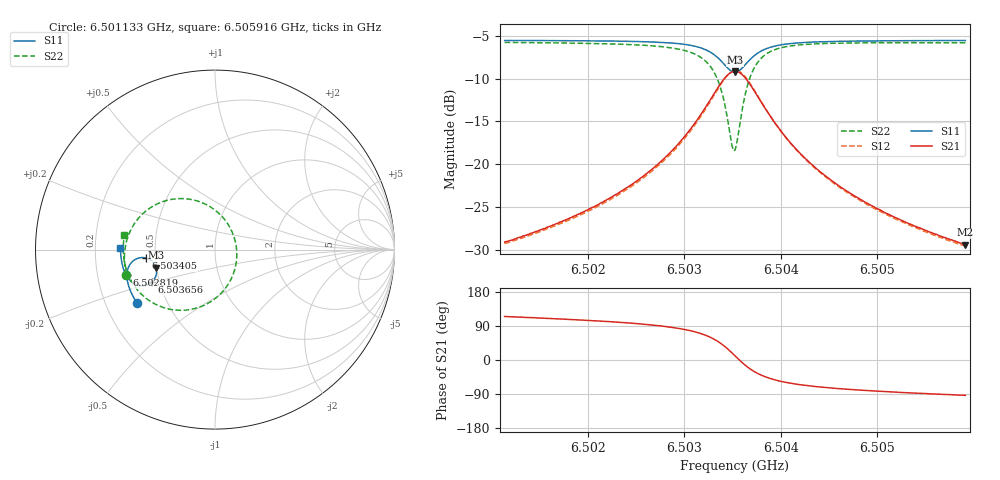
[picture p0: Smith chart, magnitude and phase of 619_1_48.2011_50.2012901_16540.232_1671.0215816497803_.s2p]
#  HZ  S  RI  R  50.00
! Rohde & Schwarz Vector Network Analyzer
! Rohde-Schwarz,ZNB20-2Port,1311601062101988,3.16
! Created: UTC 3/20/2024, 12:03:49 PM
! freq[Hz]  re:S11  im:S11  re:S21  im:S21  re:S12  im:S12  re:S22  im:S22
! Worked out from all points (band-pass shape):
!   401 points, 6.501133 GHz to 6.505916 GHz, reference 50 ohm
!   highest |S21| = -9.16 dB at 6.503525 GHz (marker M1); lowest = -29.3 dB at 6.505916 GHz (marker M2)
!   |S21| within 3 dB of the highest: 6.503286 GHz to 6.503764 GHz (478.7 kHz wide, 0.00736 % of centre)
!   lowest |S11| = -9.3 dB at 6.503525 GHz (marker M3), VSWR 2.05, Z = 24.8 - j5.64 ohm
!   |S11| at or under -10 dB: nowhere
!   |S22| runs from -18.4 to -5.8 dB; largest |S21 - S12| = 0.012
!   S11 on the Smith chart (normalised r, x): 6.501133 GHz: 0.34, -0.28; 6.502819 GHz: 0.33, -0.13; 6.503405 GHz: 0.44, -0.05; 6.503656 GHz: 0.45, -0.19; 6.505916 GHz: 0.31, +0.01
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6.5011335e9  -0.4347 -0.2975  -0.0149 0.032  -0.0129 0.032  -0.4943 -0.139
6.5019345e9  -0.4682 -0.2368  -0.0139 0.0504  -0.0112 0.05  -0.5048 -0.0511
6.5024008e9  -0.4836 -0.1938  -0.0103 0.0724  -0.00709 0.071  -0.499 0.019
6.5027356e9  -0.4905 -0.1549  -0.000708 0.1016  0.00301 0.0992  -0.478 0.0908
6.5028193e9  -0.4908 -0.1432  0.00413 0.1124  0.00797 0.1094  -0.4672 0.1139
6.5030226e9  -0.486 -0.1092  0.0275 0.1478  0.0312 0.1433  -0.4189 0.1833
6.503166e9  -0.4712 -0.079  0.0659 0.182  0.0688 0.1762  -0.344 0.243
6.5033095e9  -0.4322 -0.0493  0.1499 0.2112  0.1507 0.2049  -0.1915 0.2843
6.5034052e9  -0.3841 -0.0469  0.2436 0.1941  0.2439 0.1894  -0.0288 0.2398
6.5034889e9  -0.3401 -0.0772  0.3241 0.1172  0.3268 0.113  0.0995 0.0884
6.5035247e9  -0.3289 -0.1002  0.3419 0.067  0.3461 0.0615  0.121 -0.0059
6.5035486e9  -0.3258 -0.117  0.3455 0.0313  0.3501 0.0244  0.1186 -0.0714
6.5035845e9  -0.3281 -0.1419  0.3377 -0.0202  0.342 -0.0296  0.0903 -0.1632
6.5036562e9  -0.3511 -0.1802  0.2895 -0.0986  0.2898 -0.1108  -0.0236 -0.2902
6.5037041e9  -0.3723 -0.1943  0.2481 -0.1283  0.2456 -0.1402  -0.1101 -0.3278
6.5037639e9  -0.398 -0.2012  0.1999 -0.1449  0.1946 -0.1555  -0.2054 -0.3379
6.5039073e9  -0.4437 -0.193  0.1182 -0.1421  0.1109 -0.148  -0.3526 -0.2929
6.5040747e9  -0.4735 -0.1719  0.0691 -0.1204  0.0624 -0.1231  -0.4324 -0.2241
6.5043258e9  -0.4961 -0.1405  0.0354 -0.0928  0.0303 -0.0937  -0.4812 -0.1447
6.5046845e9  -0.5119 -0.1017  0.0156 -0.0682  0.0121 -0.0679  -0.5043 -0.0685
6.5051269e9  -0.5213 -0.06  0.00542 -0.0507  0.00286 -0.05  -0.511 -0.00264
6.505916e9  -0.5265 0.00773  -0.00193 -0.034  -0.00327 -0.0332  -0.5043 0.0838
